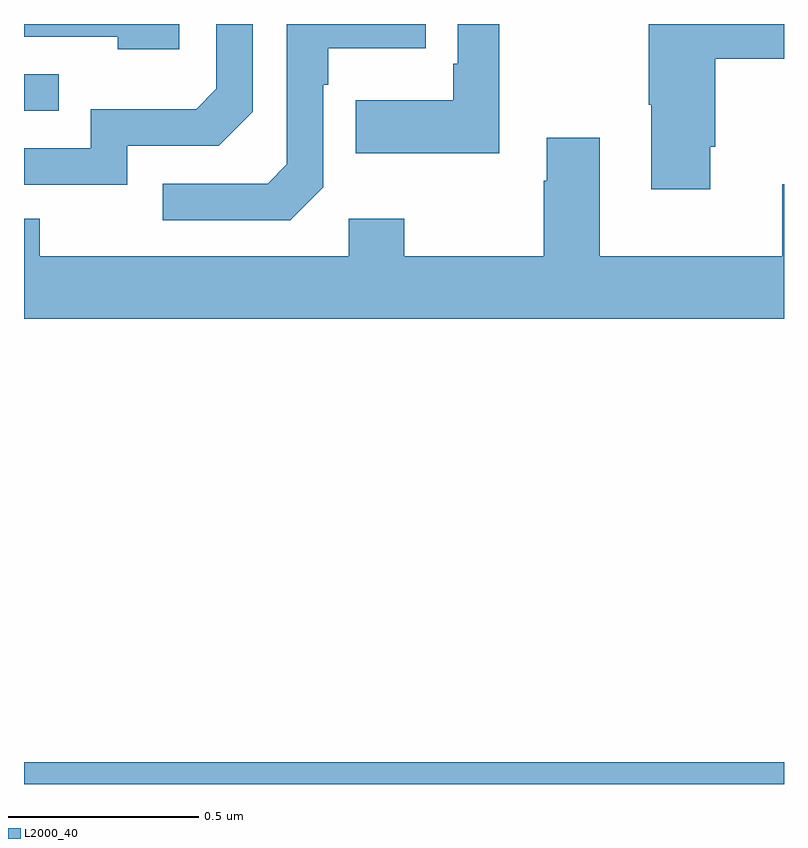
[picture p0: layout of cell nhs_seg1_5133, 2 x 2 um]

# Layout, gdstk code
import gdstk
lib = gdstk.Library(unit=1e-6, precision=1e-09)
def R(c, l, rs):  # rectangles x0, y0, x1, y1
    for r in rs: c.add(gdstk.rectangle(r[:2], r[2:], *l))
def P(c, l, *ps):  # polygons
    for p in ps: c.add(gdstk.Polygon(p, *l))
L2000_40 = (2000, 40)

nhs_seg1_5133 = lib.new_cell('nhs_seg1_5133')
R(nhs_seg1_5133, L2000_40, [(175,525.199,177,525.256), (175,526.971,175.091,527.067)])
P(nhs_seg1_5133, L2000_40, [(176.251,527.199),(176.142,527.199),(176.142,527.095),(176.13,527.095),(176.13,526.999),(175.873,526.999),(175.873,526.859),(176.251,526.859)],
  [(175.788,526.77),(175.788,527.039),(175.801,527.039),(175.801,527.135),(176.057,527.135),(176.057,527.199),(175.692,527.199),(175.692,526.83),(175.641,526.779),(175.365,526.779),(175.365,526.683),(175.701,526.683)],
  [(176.806,526.876),(176.819,526.876),(176.819,527.108),(177,527.108),(177,527.199),(176.644,527.199),(176.644,526.987),(176.651,526.987),(176.651,526.764),(176.806,526.764)],
  [(175.272,526.878),(175.512,526.878),(175.602,526.968),(175.602,527.199),(175.506,527.199),(175.506,527.028),(175.453,526.975),(175.176,526.975),(175.176,526.872),(175,526.872),(175,526.776),(175.272,526.776)],
  [(175.408,527.199),(175,527.199),(175,527.166),(175.247,527.166),(175.247,527.132),(175.408,527.132)],
  [(177,526.777),(176.996,526.777),(176.996,526.588),(176.515,526.588),(176.515,526.9),(176.375,526.9),(176.375,526.787),(176.368,526.787),(176.368,526.588),(176.001,526.588),(176.001,526.687),(175.854,526.687),(175.854,526.588),(175.041,526.588),(175.041,526.687),(175,526.687),(175,526.424),(177,526.424)])

lib.write_gds('nhs_seg1_5133.gds')
